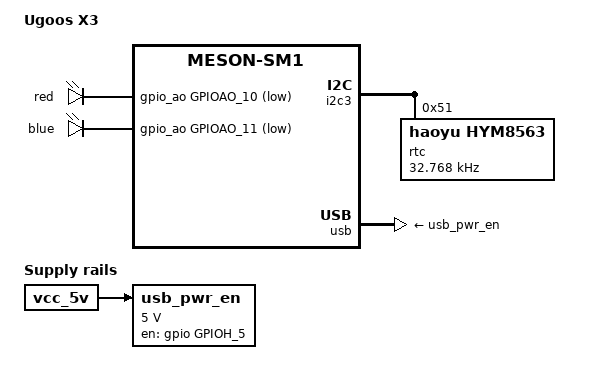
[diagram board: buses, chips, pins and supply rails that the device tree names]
// SPDX-License-Identifier: (GPL-2.0+ OR MIT)
/*
 * Copyright (c) 2019 BayLibre, SAS
 * Author: flippy <flippy@sina.com>
 */
/dts-v1/;

#include "meson-sm1-x96-max-plus.dts"

/ {
	model = "Ugoos X3";

	aliases {
		rtc0 = &rtc;
		rtc1 = &vrtc;
	};

	leds {
		compatible = "gpio-leds";

		red_led {
			label = "red";
			gpios = <&gpio_ao GPIOAO_10 GPIO_ACTIVE_LOW>;
			default-state = "off";
			linux,default-trigger = "usb-host";
		};

		blue_led {
			label = "blue";
			gpios = <&gpio_ao GPIOAO_11 GPIO_ACTIVE_LOW>;
			default-state = "on";
		};
	};

        usb_pwr_en: regulator-usb-pwr-en {
                compatible = "regulator-fixed";
                regulator-name = "USB_PWR_EN";
                regulator-min-microvolt = <5000000>;
                regulator-max-microvolt = <5000000>;
                vin-supply = <&vcc_5v>;

                gpio = <&gpio GPIOH_5 GPIO_ACTIVE_HIGH>;
                enable-active-high;
        };
};

&sd_emmc_a {
	///delete-property/ sd-uhs-sdr50;
	//sd-uhs-sdr12;
	//sd-uhs-sdr25;
	//sd-uhs-sdr50;
	max-frequency = <100000000>;
};

&sd_emmc_b {
	max-frequency = <50000000>;
};

/* eMMC */
&sd_emmc_c {
        max-frequency = <200000000>;
};

&i2c3 {
	status = "okay";
	pinctrl-0 = <&i2c3_sda_a_pins>, <&i2c3_sck_a_pins>;
	pinctrl-names = "default";

	rtc: rtc@51 {
                compatible = "haoyu,hym8563";
                reg = <0x51>;
                wakeup-source;
                
                #clock-cells = <0>;
                clock-frequency = <32768>;
                clock-output-names = "xin32k";
	};
};

&usb {
	status = "okay";
	vbus-supply = <&usb_pwr_en>;
};

&usb2_phy0 {
	phy-supply = <&vcc_5v>;
};

&usb2_phy1 {
	phy-supply = <&vcc_5v>;
};

